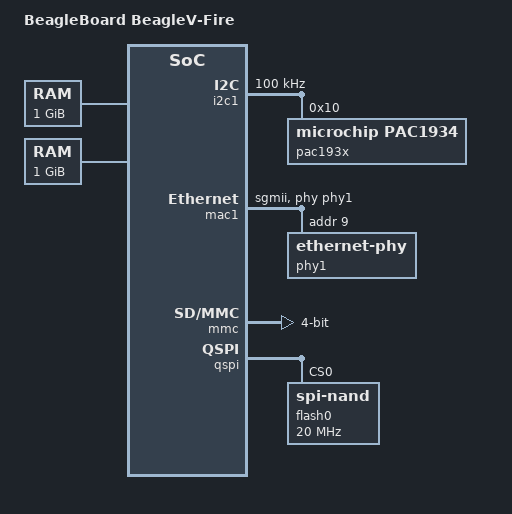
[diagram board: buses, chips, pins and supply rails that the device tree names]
// SPDX-License-Identifier: (GPL-2.0+ OR MIT)
/*
 * Copyright (C) 2023 Francescodario Cuzzocrea <bosconovic@gmail.com>
 */

/dts-v1/;

#include "mpfs.dtsi"
#include "mpfs-beaglev-fire-fabric.dtsi"
#include <dt-bindings/gpio/gpio.h>
#include <dt-bindings/leds/common.h>

/* Clock frequency (in Hz) of the rtcclk */
#define RTCCLK_FREQ		1000000

/ {
	model = "BeagleBoard BeagleV-Fire";
	compatible = "microchip,mpfs-icicle-reference-rtlv2210", "beagleboard,beaglev-fire",
		     "microchip,mpfs";

	aliases {
		serial0 = &mmuart0;
		ethernet0 = &mac1;
		spi0 = &qspi;
	};

	chosen {
		stdout-path = "serial0";
	};

	cpus {
		timebase-frequency = <RTCCLK_FREQ>;
	};

	ddrc_cache_lo: memory@80000000 {
		device_type = "memory";
		reg = <0x0 0x80000000 0x0 0x40000000>;
		status = "okay";
	};

	ddrc_cache_hi: memory@1040000000 {
		device_type = "memory";
		reg = <0x10 0x40000000 0x0 0x40000000>;
		status = "okay";
	};

	reserved-memory {
		#address-cells = <2>;
		#size-cells = <2>;
		ranges;

		hss_payload: region@BFC00000 {
			reg = <0x0 0xBFC00000 0x0 0x400000>;
			no-map;
		};
	};
};

&i2c1 {
	status = "okay";
	clock-frequency = <100000>;

	pac193x: pac193x@10 {
		compatible = "microchip,pac1934";
		reg = <0x10>;
		samp-rate = <64>;
		status = "okay";
		ch1: channel0 {
			uohms-shunt-res = <10000>;
			rail-name = "VDDREG";
			channel_enabled;
		};
		ch2: channel1 {
			uohms-shunt-res = <10000>;
			rail-name = "VDDA25";
			channel_enabled;
		};
		ch3: channel2 {
			uohms-shunt-res = <10000>;
			rail-name = "VDD25";
			channel_enabled;
		};
		ch4: channel3 {
			uohms-shunt-res = <10000>;
			rail-name = "VDDA_REG";
			channel_enabled;
		};
	};
};

&mac1 {
	phy-mode = "sgmii";
	phy-handle = <&phy1>;
	status = "okay";

	phy1: ethernet-phy@9 {
		reg = <9>;
	};
};

&mmc {
	bus-width = <4>;
	disable-wp;
	cap-sd-highspeed;
	cap-mmc-highspeed;
	mmc-ddr-1_8v;
	mmc-hs200-1_8v;
	sd-uhs-sdr12;
	sd-uhs-sdr25;
	sd-uhs-sdr50;
	sd-uhs-sdr104;
	status = "okay";
};

&mmuart0 {
	status = "okay";
};

&qspi {
	status = "okay";
	num-cs = <1>;
	flash0: spi-nand@0 {
		compatible = "spi-nand";
		reg = <0x0>;
		spi-tx-bus-width = <4>;
		spi-rx-bus-width = <4>;
		spi-max-frequency = <20000000>;
		spi-cpol;
		spi-cpha;
	};
};

&refclk {
	clock-frequency = <125000000>;
};
